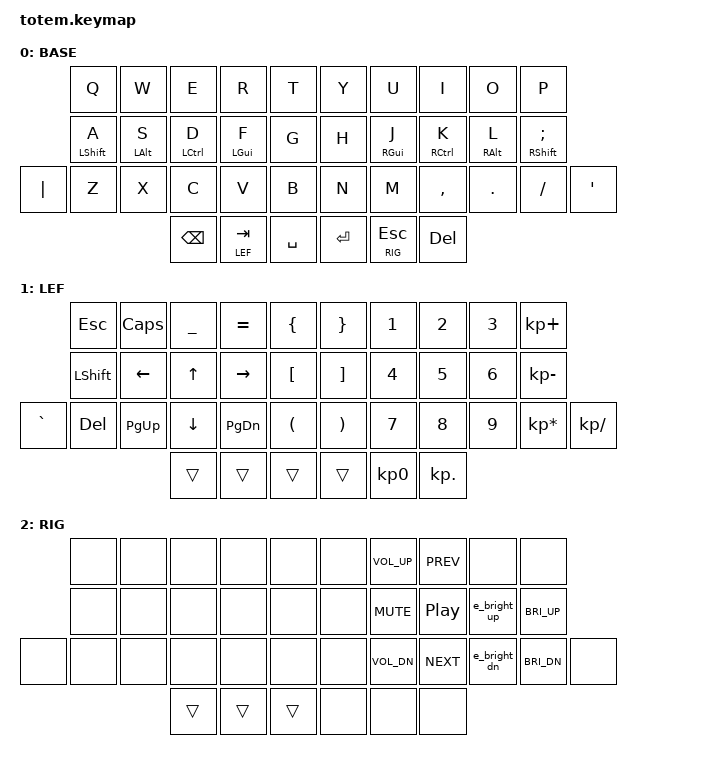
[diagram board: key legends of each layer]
//
//                                                        ▀▀▀▀▀     ▀▀▀▀▀          ▀▀█▀▀
//                                                        ▄▀▀▀▄  ▄  ▄▀▀▀▄  ▄  ▄▀▀▀▄  █  ▄▀▀▀▄
//                                                        █   █  █  █   █  █  █   █  █  █   █
//                                                         ▀▀▀   █   ▀▀▀   █   ▀▀▀   ▀   ▀▀▀
//                                                               █      ▄▄▄█▄▄▄    █   █  
//                                                               ▀      █  █  █     █▄█
//                                                             ▀▀▀▀▀    █  █  █      ▀
//                                                                      ▀  ▀  ▀
//
// ▄▄▄▄▄▄▄▄▄▄▄▄▄▄▄▄▄▄▄▄▄▄▄▄▄▄▄▄▄▄▄▄▄▄▄▄▄▄▄▄▄▄▄▄▄▄▄▄▄▄▄▄▄▄▄▄▄▄▄▄▄▄▄▄▄▄▄▄▄▄▄▄▄▄▄▄▄▄▄▄▄▄▄▄▄▄▄▄▄▄▄▄▄▄▄▄▄▄▄▄▄▄▄▄▄▄▄▄▄▄▄▄▄▄▄▄▄▄▄▄▄▄▄▄▄▄▄▄▄▄▄▄▄▄▄▄▄▄▄▄▄▄▄▄▄▄▄▄▄
       

#include <behaviors.dtsi>
#include <dt-bindings/zmk/keys.h>
#include <dt-bindings/zmk/bt.h>
#include <dt-bindings/zmk/outputs.h>

#define BASE 0
#define LEF 1
#define RIG 2

&mt {
  quick-tap-ms = <100>;
  global-quick-tap;
  flavor = "tap-preferred";
  tapping-term-ms = <170>;
};

/ {
    macros {
        e_bright_up:  e_bright_up {
            label = "ebu";
            compatible = "zmk,behavior-macro";
            #binding-cells = <0>;
            bindings =
                <&macro_press &kp LCTRL>
                , <&macro_tap &kp C_BRI_UP>
                , <&macro_release &kp LCTRL>
                ;
        };
        e_bright_dn:  e_bright_dn {
            label = "ebd";
            compatible = "zmk,behavior-macro";
            #binding-cells = <0>;
            bindings =
                <&macro_press &kp LCTRL>
                , <&macro_tap &kp C_BRI_DN>
                , <&macro_release &kp LCTRL>
                ;
        };
    };

    keymap {
        compatible = "zmk,keymap";
// ▄▄▄▄▄▄▄▄▄▄▄▄▄▄▄▄▄▄▄▄▄▄▄▄▄▄▄▄▄▄▄▄▄▄▄▄▄▄▄▄▄▄▄▄▄▄▄▄▄▄▄▄▄▄▄▄▄▄▄▄▄▄▄▄▄▄▄▄▄▄▄▄▄▄▄▄▄▄▄▄▄▄▄▄▄▄▄▄▄▄▄▄▄▄▄▄▄▄▄▄▄▄▄▄▄▄▄▄▄▄▄▄▄▄▄▄▄▄▄▄▄▄▄▄▄▄▄▄▄▄▄▄▄▄▄▄▄▄▄▄▄▄▄▄▄▄▄▄▄

base_layer {
// ┏━━━━━━━━━━━━━━━━━━━━━━━━━━━━━━━━━━━━━━━┓
    label= "BASE"                          ;
// ┗━━━━━━━━━━━━━━━━━━━━━━━━━━━━━━━━━━━━━━━┛
    bindings = <
//             ┏━━━━━━━━━━━┳━━━━━━━━━━━┳━━━━━━━━━━━┳━━━━━━━━━━━┳━━━━━━━━━━━┓   ┏━━━━━━━━━━━┳━━━━━━━━━━━┳━━━━━━━━━━━┳━━━━━━━━━━━┳━━━━━━━━━━━┓
//             ┃     Q     ┃     W     ┃     E     ┃     R     ┃     T     ┃   ┃     Y     ┃     U     ┃     I     ┃     O     ┃     P     ┃
                    &kp Q       &kp W       &kp E       &kp R       &kp T           &kp Y       &kp U       &kp I       &kp O       &kp P
//             ┣━━━━━━━━━━━╋━━━━━━━━━━━╋━━━━━━━━━━━╋━━━━━━━━━━━╋━━━━━━━━━━━┫   ┣━━━━━━━━━━━╋━━━━━━━━━━━╋━━━━━━━━━━━╋━━━━━━━━━━━╋━━━━━━━━━━━┫
//             ┃     A     ┃     S     ┃     D     ┃     F     ┃     G     ┃   ┃     H     ┃     J     ┃     K     ┃     L     ┃     ; :   ┃
                &mt LSHFT A  &mt LALT S &mt LCTRL D  &mt LGUI F    &kp G           &kp H    &mt RGUI J  &mt RCTRL K &mt RALT L  &mt RSHFT SEMI
// ┏━━━━━━━━━━━╋━━━━━━━━━━━╋━━━━━━━━━━━╋━━━━━━━━━━━╋━━━━━━━━━━━╋━━━━━━━━━━━┫   ┣━━━━━━━━━━━╋━━━━━━━━━━━╋━━━━━━━━━━━╋━━━━━━━━━━━╋━━━━━━━━━━━╋━━━━━━━━━━━┓
// ┃    | \    ┃     Z     ┃     X     ┃     C     ┃     V     ┃     B     ┃   ┃     N     ┃     M     ┃    , <    ┃     . >   ┃     / ?   ┃    ' "    ┃
       &kp PIPE    &kp Z       &kp X       &kp C       &kp V       &kp B           &kp N       &kp M      &kp COMMA   &kp DOT     &kp FSLH    &kp SQT
// ┗━━━━━━━━━━━┻━━━━━━━━━━━┻━━━━━━━━━━━╋━━━━━━━━━━━╋━━━━━━━━━━━╋━━━━━━━━━━━┫   ┣━━━━━━━━━━━╋━━━━━━━━━━━╋━━━━━━━━━━━╋━━━━━━━━━━━┻━━━━━━━━━━━┻━━━━━━━━━━━┛
//                                     ┃    BSPC   ┃    TAB    ┃    SPC    ┃   ┃   ENTER   ┃    ESC    ┃    DEL    ┃
                                        &kp BSPC   &lt LEF TAB  &kp SPACE         &kp RET  &lt RIG ESC   &kp DEL
//                                     ┗━━━━━━━━━━━┻━━━━━━━━━━━┻━━━━━━━━━━━┛   ┗━━━━━━━━━━━┻━━━━━━━━━━━┻━━━━━━━━━━━┛
    >;
};

// ▄▄▄▄▄▄▄▄▄▄▄▄▄▄▄▄▄▄▄▄▄▄▄▄▄▄▄▄▄▄▄▄▄▄▄▄▄▄▄▄▄▄▄▄▄▄▄▄▄▄▄▄▄▄▄▄▄▄▄▄▄▄▄▄▄▄▄▄▄▄▄▄▄▄▄▄▄▄▄▄▄▄▄▄▄▄▄▄▄▄▄▄▄▄▄▄▄▄▄▄▄▄▄▄▄▄▄▄▄▄▄▄▄▄▄▄▄▄▄▄▄▄▄▄▄▄▄▄▄▄▄▄▄▄▄▄▄▄▄▄▄▄▄▄▄▄▄▄▄


num_symbol_nav {
// ┏━━━━━━━━━━━━━━━━━━━━━━━━━━━━━━━━━━━━━━━┓
    label= "LEF"                           ;
// ┗━━━━━━━━━━━━━━━━━━━━━━━━━━━━━━━━━━━━━━━┛
    bindings = <
//             ┏━━━━━━━━━━━┳━━━━━━━━━━━┳━━━━━━━━━━━┳━━━━━━━━━━━┳━━━━━━━━━━━┓   ┏━━━━━━━━━━━┳━━━━━━━━━━━┳━━━━━━━━━━━┳━━━━━━━━━━━┳━━━━━━━━━━━┓
//             ┃    ESC    ┃  C LOCK   ┃     _     ┃     =     ┃     {     ┃   ┃     }     ┃     1     ┃     2     ┃     3     ┃     +     ┃
                  &kp ESC     &kp CAPS   &kp UNDER   &kp EQUAL   &kp LBRC        &kp RBRC      &kp N1      &kp N2      &kp N3   &kp KP_PLUS
//             ┣━━━━━━━━━━━╋━━━━━━━━━━━╋━━━━━━━━━━━╋━━━━━━━━━━━╋━━━━━━━━━━━┫   ┣━━━━━━━━━━━╋━━━━━━━━━━━╋━━━━━━━━━━━╋━━━━━━━━━━━╋━━━━━━━━━━━┫
//             ┃   SHIFT   ┃   LEFT    ┃    UP     ┃   RIGHT   ┃     [     ┃   ┃     ]     ┃     4     ┃     5     ┃     6     ┃     -     ┃
                &kp LSHFT    &kp LEFT     &kp UP    &kp RIGHT    &kp LBKT        &kp RBKT       &kp N4      &kp N5     &kp N6     &kp KP_MINUS
// ┏━━━━━━━━━━━╋━━━━━━━━━━━╋━━━━━━━━━━━╋━━━━━━━━━━━╋━━━━━━━━━━━╋━━━━━━━━━━━┫   ┣━━━━━━━━━━━╋━━━━━━━━━━━╋━━━━━━━━━━━╋━━━━━━━━━━━╋━━━━━━━━━━━╋━━━━━━━━━━━┓
// ┃    ` ~    ┃    DEL    ┃  PAGE UP  ┃   DOWN    ┃ PAGE DOWN ┃     (     ┃   ┃     )     ┃     7     ┃     8     ┃     9     ┃     *     ┃     /     ┃
     &kp GRAVE    &kp DEL     &kp PG_UP   &kp DOWN    &kp PG_DN   &kp LPAR        &kp RPAR      &kp N7      &kp N8      &kp N9  &kp KP_MULTIPLY &kp KP_DIVIDE      
// ┗━━━━━━━━━━━┻━━━━━━━━━━━┻━━━━━━━━━━━╋━━━━━━━━━━━╋━━━━━━━━━━━╋━━━━━━━━━━━┫   ┣━━━━━━━━━━━╋━━━━━━━━━━━╋━━━━━━━━━━━╋━━━━━━━━━━━┻━━━━━━━━━━━┻━━━━━━━━━━━┛
//                                     ┃   BSPC    ┃    TAB    ┃    SPC    ┃   ┃   ENTER   ┃     0     ┃     .     ┃
                                           &trans      &trans      &trans         &trans     &kp KP_N0   &kp KP_DOT     
//                                     ┗━━━━━━━━━━━┻━━━━━━━━━━━┻━━━━━━━━━━━┛   ┗━━━━━━━━━━━┻━━━━━━━━━━━┻━━━━━━━━━━━┛
    >;
};

// ▄▄▄▄▄▄▄▄▄▄▄▄▄▄▄▄▄▄▄▄▄▄▄▄▄▄▄▄▄▄▄▄▄▄▄▄▄▄▄▄▄▄▄▄▄▄▄▄▄▄▄▄▄▄▄▄▄▄▄▄▄▄▄▄▄▄▄▄▄▄▄▄▄▄▄▄▄▄▄▄▄▄▄▄▄▄▄▄▄▄▄▄▄▄▄▄▄▄▄▄▄▄▄▄▄▄▄▄▄▄▄▄▄▄▄▄▄▄▄▄▄▄▄▄▄▄▄▄▄▄▄▄▄▄▄▄▄▄▄▄▄▄▄▄▄▄▄▄▄


adjust_layer {
// ┏━━━━━━━━━━━━━━━━━━━━━━━━━━━━━━━━━━━━━━━┓
    label= "RIG"                           ;
// ┗━━━━━━━━━━━━━━━━━━━━━━━━━━━━━━━━━━━━━━━┛
    bindings = <
//             ┏━━━━━━━━━━━┳━━━━━━━━━━━┳━━━━━━━━━━━┳━━━━━━━━━━━┳━━━━━━━━━━━┓   ┏━━━━━━━━━━━┳━━━━━━━━━━━┳━━━━━━━━━━━┳━━━━━━━━━━━┳━━━━━━━━━━━┓
//             ┃           ┃           ┃           ┃           ┃           ┃   ┃           ┃    VOL+   ┃    PREV   ┃           ┃           ┃
                   &none       &none       &none       &none       &none           &none    &kp C_VOL_UP &kp C_PREV    &none       &none       
//             ┣━━━━━━━━━━━╋━━━━━━━━━━━╋━━━━━━━━━━━╋━━━━━━━━━━━╋━━━━━━━━━━━┫   ┣━━━━━━━━━━━╋━━━━━━━━━━━╋━━━━━━━━━━━╋━━━━━━━━━━━╋━━━━━━━━━━━┫
//             ┃           ┃           ┃           ┃           ┃           ┃   ┃           ┃    MUTE   ┃ PLAY_PAUSE┃E BRIGHT UP┃ BRIGHT UP ┃
                   &none       &none       &none       &none       &none           &none     &kp C_MUTE   &kp C_PP  &e_bright_up &kp C_BRI_UP 
// ┏━━━━━━━━━━━╋━━━━━━━━━━━╋━━━━━━━━━━━╋━━━━━━━━━━━╋━━━━━━━━━━━╋━━━━━━━━━━━┫   ┣━━━━━━━━━━━╋━━━━━━━━━━━╋━━━━━━━━━━━╋━━━━━━━━━━━╋━━━━━━━━━━━╋━━━━━━━━━━━┓
// ┃           ┃           ┃           ┃           ┃           ┃           ┃   ┃           ┃    VOL-   ┃    NEXT   ┃E BRIGHT DN┃ BRIGHT DN ┃           ┃
      &none        &none        &none      &none       &none       &none           &none   &kp C_VOL_DN &kp C_NEXT  &e_bright_dn &kp C_BRI_DN  &none 
// ┗━━━━━━━━━━━┻━━━━━━━━━━━┻━━━━━━━━━━━╋━━━━━━━━━━━╋━━━━━━━━━━━╋━━━━━━━━━━━┫   ┣━━━━━━━━━━━╋━━━━━━━━━━━╋━━━━━━━━━━━╋━━━━━━━━━━━┻━━━━━━━━━━━┻━━━━━━━━━━━┛
//                                     ┃    BSPC   ┃    TAB    ┃    SPC    ┃   ┃           ┃           ┃           ┃
                                           &trans      &trans      &trans          &none       &none        &none     
//                                     ┗━━━━━━━━━━━┻━━━━━━━━━━━┻━━━━━━━━━━━┛   ┗━━━━━━━━━━━┻━━━━━━━━━━━┻━━━━━━━━━━━┛
    >;
};
    };
};
